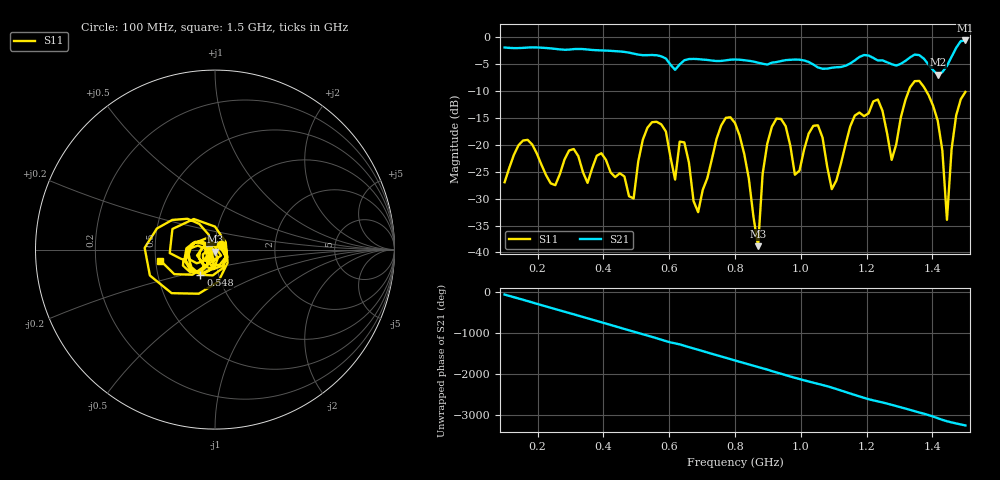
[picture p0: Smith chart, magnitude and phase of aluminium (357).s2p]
! NanoVNA-App
! Date: 2025-09-25 14:58:03
! Start: 100MHz Stop: 1,5GHz Points: 101
! S-Parameter data: F S11 S21 S12 S22
# Hz S RI R 50
!  Frequency  S11_Real  S11_Imag  S21_Real  S21_Imag  S12_Real  S12_Imag  S22_Real  S22_Imag
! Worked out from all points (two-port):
!   101 points, 100 MHz to 1.5 GHz, reference 50 ohm
!   highest |S21| = -0.61 dB at 1.5 GHz (marker M1); lowest = -7.0 dB at 1.416 GHz (marker M2)
!   |S21| within 3 dB of the highest: start of sweep to 578 MHz; 1.458 GHz to end of sweep (the widest 2 of 4)
!   lowest |S11| = -38.8 dB at 870 MHz (marker M3), VSWR 1.02, Z = 50.3 - j1.12 ohm
!   |S11| at or under -10 dB: start of sweep to 1.328 GHz; 1.381 GHz to end of sweep
!   S12 and S22 are empty: the file has one direction only
!   S11 on the Smith chart (normalised r, x): 100 MHz: 1.07, +0.06; 548 MHz: 0.82, -0.24; 1.5 GHz: 0.53, -0.07
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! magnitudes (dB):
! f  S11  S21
! 100 MHz  -27.0  -1.9
! 170 MHz  -19.1  -1.9
! 338 MHz  -25.1  -2.2
! 492 MHz  -30.0  -3.1
! 548 MHz  -15.8  -3.3
! 576 MHz  -16.2  -3.5
! 618 MHz  -26.5  -6.1
! 646 MHz  -19.6  -4.3
! 688 MHz  -32.5  -4.1
! 800 MHz  -15.9  -4.1
! 870 MHz  -38.8  -4.7
! 912 MHz  -16.6  -4.7
! 982 MHz  -25.6  -4.2
! 1.038 GHz  -16.5  -5.1
! 1.094 GHz  -28.2  -5.7
! 1.22 GHz  -11.9  -3.8
! 1.276 GHz  -22.8  -5.0
! 1.346 GHz  -8.2  -3.2
! 1.416 GHz  -15.5  -7.0
! 1.444 GHz  -33.9  -5.3
! 1.472 GHz  -14.5  -2.0
! 1.5 GHz  -10.2  -0.6
